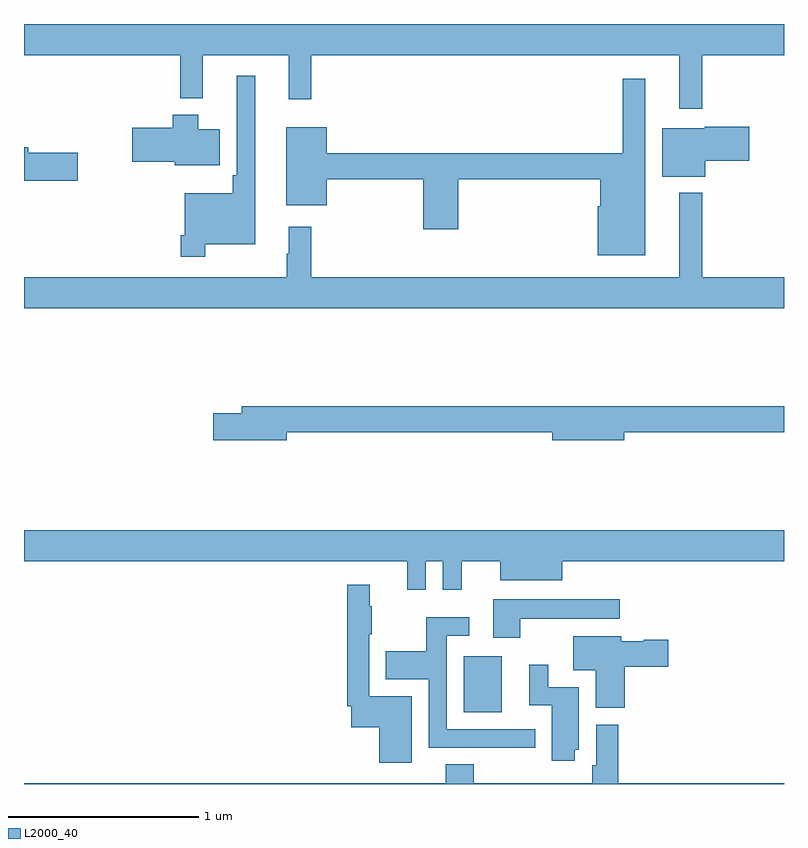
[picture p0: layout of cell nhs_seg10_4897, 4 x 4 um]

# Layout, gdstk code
import gdstk
lib = gdstk.Library(unit=1e-6, precision=1e-09)
def R(c, l, rs):  # rectangles x0, y0, x1, y1
    for r in rs: c.add(gdstk.rectangle(r[:2], r[2:], *l))
def P(c, l, *ps):  # polygons
    for p in ps: c.add(gdstk.Polygon(p, *l))
L2000_40 = (2000, 40)

nhs_seg10_4897 = lib.new_cell('nhs_seg10_4897')
R(nhs_seg10_4897, L2000_40, [(395.315,1276.877,395.515,1277.173)])
P(nhs_seg10_4897, L2000_40, [(396.571,1280.336),(397,1280.336),(397,1280.5),(393,1280.5),(393,1280.336),(393.823,1280.336),(393.823,1280.108),(393.941,1280.108),(393.941,1280.336),(394.394,1280.336),(394.394,1280.103),(394.511,1280.103),(394.511,1280.336),(396.449,1280.336),(396.449,1280.055),(396.571,1280.055)],
  [(393.955,1279.34),(394.216,1279.34),(394.216,1280.227),(394.119,1280.227),(394.119,1279.705),(394.099,1279.705),(394.099,1279.609),(393.846,1279.609),(393.846,1279.387),(393.826,1279.387),(393.826,1279.275),(393.955,1279.275)],
  [(396.271,1280.212),(396.15,1280.212),(396.15,1279.82),(394.594,1279.82),(394.594,1279.957),(394.379,1279.957),(394.379,1279.547),(394.594,1279.547),(394.594,1279.684),(395.102,1279.684),(395.102,1279.419),(395.285,1279.419),(395.285,1279.684),(396.032,1279.684),(396.032,1279.542),(396.02,1279.542),(396.02,1279.283),(396.271,1279.283)],
  [(394.03,1279.945),(393.916,1279.945),(393.916,1280.023),(393.782,1280.023),(393.782,1279.953),(393.57,1279.953),(393.57,1279.775),(393.794,1279.775),(393.794,1279.757),(394.03,1279.757)],
  [(396.586,1279.781),(396.817,1279.781),(396.817,1279.959),(396.582,1279.959),(396.582,1279.951),(396.359,1279.951),(396.359,1279.697),(396.586,1279.697)],
  [(393.283,1279.823),(393.022,1279.823),(393.022,1279.852),(393,1279.852),(393,1279.676),(393.283,1279.676)],
  [(397,1279.168),(396.571,1279.168),(396.571,1279.612),(396.449,1279.612),(396.449,1279.168),(394.511,1279.168),(394.511,1279.432),(394.394,1279.432),(394.394,1279.292),(394.383,1279.292),(394.383,1279.168),(393,1279.168),(393,1279.004),(397,1279.004)],
  [(394.384,1278.352),(395.78,1278.352),(395.78,1278.31),(396.16,1278.31),(396.16,1278.352),(397,1278.352),(397,1278.488),(394.145,1278.488),(394.145,1278.452),(393.996,1278.452),(393.996,1278.31),(394.384,1278.31)],
  [(395.115,1277.672),(395.205,1277.672),(395.205,1277.523),(395.303,1277.523),(395.303,1277.672),(395.507,1277.672),(395.507,1277.573),(395.833,1277.573),(395.833,1277.672),(397,1277.672),(397,1277.836),(393,1277.836),(393,1277.672),(395.018,1277.672),(395.018,1277.523),(395.115,1277.523)],
  [(395.041,1276.963),(394.818,1276.963),(394.818,1277.287),(394.831,1277.287),(394.831,1277.435),(394.82,1277.435),(394.82,1277.548),(394.702,1277.548),(394.702,1276.909),(394.722,1276.909),(394.722,1276.798),(394.871,1276.798),(394.871,1276.611),(395.041,1276.611)],
  [(395.611,1277.369),(396.136,1277.369),(396.136,1277.473),(395.471,1277.473),(395.471,1277.271),(395.611,1277.271)],
  [(395.692,1276.788),(395.226,1276.788),(395.226,1277.28),(395.344,1277.28),(395.344,1277.377),(395.118,1277.377),(395.118,1277.199),(394.903,1277.199),(394.903,1277.051),(395.13,1277.051),(395.13,1276.692),(395.455,1276.692),(395.455,1276.691),(395.692,1276.691)],
  [(396.161,1277.117),(396.391,1277.117),(396.391,1277.259),(396.261,1277.259),(396.261,1277.251),(396.144,1277.251),(396.144,1277.278),(395.891,1277.278),(395.891,1277.099),(396.008,1277.099),(396.008,1276.902),(396.161,1276.902)],
  [(395.899,1276.68),(395.92,1276.68),(395.92,1277.01),(395.758,1277.01),(395.758,1277.128),(395.66,1277.128),(395.66,1276.914),(395.777,1276.914),(395.777,1276.623),(395.899,1276.623)],
  [(397,1276.504),(396.128,1276.504),(396.128,1276.813),(396.012,1276.813),(396.012,1276.6),(395.992,1276.6),(395.992,1276.504),(395.367,1276.504),(395.367,1276.603),(395.219,1276.603),(395.219,1276.504),(393,1276.504),(393,1276.5),(397,1276.5)])

lib.write_gds('nhs_seg10_4897.gds')
